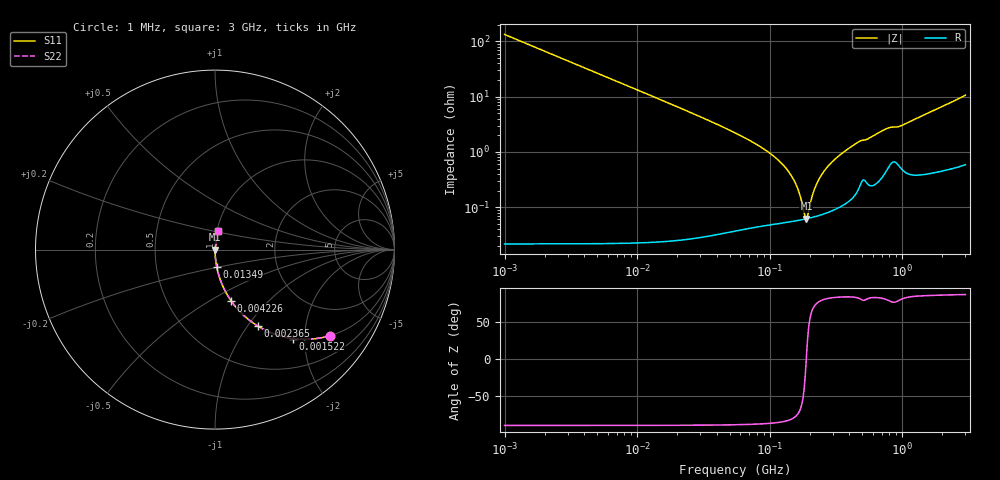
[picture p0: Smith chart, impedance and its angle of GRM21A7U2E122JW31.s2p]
!Murata Part Number: GRM21A7U2E122JW31
!These Parameters are Measured in Series Mode Connection
!Data Generated on Mar 30, 2021
!  o--ll--o
!Port1  Port2
!  o------o
!Operation Temp=25[degC], DC Bias Voltage=0[V]
!Freq. Start=1000[kHz] Stop=3[GHz] 401[Steps]
# Hz S RI R 50
!Freq.(Hz) S11(Real) S11(Imag) S21(Real) S21(Imag) S12(Real) S12(Imag) S22(Real) S22(Imag)
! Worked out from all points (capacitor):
!   401 points, 1 MHz to 3 GHz, reference 50 ohm
!   read as one part in series: C = 1.2 nF near 1.041 MHz
!   lowest |Z| = 61.6 mohm at 189.5 MHz (marker M1)
!   series resonance near 189 MHz, so ESL is about 590 pH
!   S11 on the Smith chart (normalised r, x): 1 MHz: 1.00, -2.66; 1.522 MHz: 1.00, -1.75; 2.365 MHz: 1.00, -1.13; 4.226 MHz: 1.00, -0.63; 13.49 MHz: 1.00, -0.20; 3 GHz: 1.01, +0.21
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1000000  0.6393 -0.4801  0.3607 0.4801  0.3607 0.4801  0.6393 -0.4801
1522470  0.4333 -0.4954  0.5667 0.4954  0.5667 0.4954  0.4333 -0.4954
2364779  0.2407 -0.4273  0.7593 0.4273  0.7593 0.4273  0.2407 -0.4273
3823119  0.1082 -0.3104  0.8918 0.3104  0.8918 0.3104  0.1082 -0.3104
4225536  0.0904 -0.2864  0.9096 0.2864  0.9096 0.2864  0.0904 -0.2864
1.349163e7  0.00976 -0.0971  0.9902 0.0971  0.9902 0.0971  0.00976 -0.0971
1.461624e7  0.00835 -0.0897  0.9917 0.0897  0.9917 0.0897  0.00835 -0.0897
5.477226e7  0.000859 -0.0221  0.9991 0.0221  0.9991 0.0221  0.000859 -0.0221
9.216659e7  0.000581 -0.0109  0.9994 0.0109  0.9994 0.0109  0.000581 -0.0109
1.295243e8  0.000552 -0.00541  0.9994 0.00541  0.9994 0.00541  0.000552 -0.00541
1.582265e8  0.000572 -0.0025  0.9994 0.0025  0.9994 0.0025  0.000572 -0.0025
1.820241e8  0.000603 -0.000527  0.9994 0.000527  0.9994 0.000527  0.000603 -0.000527
1.894586e8  0.000615 3.32e-05  0.9994 -3.32e-05  0.9994 -3.32e-05  0.000615 3.32e-05
1.971969e8  0.000629 0.000594  0.9994 -0.000594  0.9994 -0.000594  0.000629 0.000594
2.094008e8  0.000653 0.00144  0.9993 -0.00144  0.9993 -0.00144  0.000653 0.00144
2.268557e8  0.000692 0.00257  0.9993 -0.00257  0.9993 -0.00257  0.000692 0.00257
2.457655e8  0.000741 0.00372  0.9993 -0.00372  0.9993 -0.00372  0.000741 0.00372
3.124888e8  0.000965 0.00738  0.999 -0.00738  0.999 -0.00738  0.000965 0.00738
4.66327e8  0.00229 0.0149  0.9977 -0.0149  0.9977 -0.0149  0.00229 0.0149
8.005644e8  0.00626 0.0266  0.9937 -0.0266  0.9937 -0.0266  0.00626 0.0266
9.977393e8  0.00564 0.0295  0.9944 -0.0295  0.9944 -0.0295  0.00564 0.0295
3e9  0.0168 0.1036  0.9832 -0.1036  0.9832 -0.1036  0.0168 0.1036
